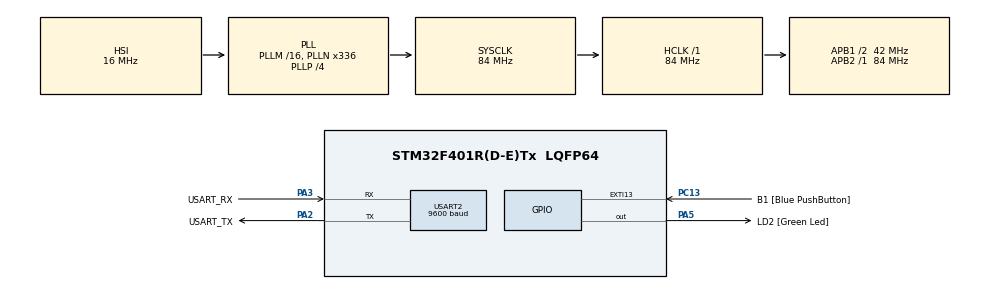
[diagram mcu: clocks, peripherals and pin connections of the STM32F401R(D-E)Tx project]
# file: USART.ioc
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Mcu.Family=STM32F4
Mcu.Name=STM32F401R(D-E)Tx
Mcu.Package=LQFP64
NVIC.PriorityGroup=NVIC_PRIORITYGROUP_0
NVIC.USART2_IRQn=true\:0\:0\:false\:false\:true\:true
PA13.GPIO_Label=TMS
PA13.Signal=SYS_JTMS-SWDIO
PA14.GPIO_Label=TCK
PA14.Signal=SYS_JTCK-SWCLK
PA2.GPIO_Label=USART_TX
PA2.GPIO_Mode=GPIO_MODE_AF_PP
PA2.GPIO_PuPd=GPIO_NOPULL
PA2.GPIO_Speed=GPIO_SPEED_FREQ_LOW
PA2.Mode=Asynchronous
PA2.Signal=USART2_TX
PA3.GPIO_Label=USART_RX
PA3.GPIO_Mode=GPIO_MODE_AF_PP
PA3.GPIO_PuPd=GPIO_NOPULL
PA3.GPIO_Speed=GPIO_SPEED_FREQ_LOW
PA3.Mode=Asynchronous
PA3.Signal=USART2_RX
PA5.GPIO_Label=LD2 [Green Led]
PA5.GPIO_Mode=GPIO_MODE_OUTPUT_PP
PA5.GPIO_PuPd=GPIO_NOPULL
PA5.GPIO_Speed=GPIO_SPEED_FREQ_LOW
PA5.Signal=GPIO_Output
PB3.GPIO_Label=SWO
PB3.Signal=SYS_JTDO-SWO
PC13-ANTI_TAMP.GPIO_Label=B1 [Blue PushButton]
PC13-ANTI_TAMP.GPIO_ModeDefaultEXTI=GPIO_MODE_IT_FALLING
PC13-ANTI_TAMP.GPIO_PuPd=GPIO_NOPULL
PC13-ANTI_TAMP.Signal=GPXTI13
PC14-OSC32_IN.Signal=RCC_OSC32_IN
PC15-OSC32_OUT.Signal=RCC_OSC32_OUT
PH0\ -\ OSC_IN.Signal=RCC_OSC_IN
PH1\ -\ OSC_OUT.Signal=RCC_OSC_OUT
ProjectManager.HeapSize=0x200
ProjectManager.StackSize=0x400
ProjectManager.TargetToolchain=SW4STM32
RCC.AHBFreq_Value=84000000
RCC.APB1CLKDivider=RCC_HCLK_DIV2
RCC.APB1Freq_Value=42000000
RCC.APB1TimFreq_Value=84000000
RCC.APB2Freq_Value=84000000
RCC.APB2TimFreq_Value=84000000
RCC.CortexFreq_Value=84000000
RCC.HCLKFreq_Value=84000000
RCC.HSE_VALUE=8000000
RCC.HSI_VALUE=16000000
RCC.LSE_VALUE=32768
RCC.PLLN=336
RCC.PLLP=RCC_PLLP_DIV4
RCC.PLLQ=7
RCC.SYSCLKFreq_VALUE=84000000
RCC.SYSCLKSource=RCC_SYSCLKSOURCE_PLLCLK
RCC.VCOOutputFreq_Value=336000000
USART2.BaudRate=9600
USART2.VirtualMode=VM_ASYNC
board=NUCLEO-F401RE

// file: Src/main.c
/**
  ******************************************************************************
  * File Name          : main.c
  * Description        : Main program body
  ******************************************************************************
  ** This notice applies to any and all portions of this file
  * that are not between comment pairs USER CODE BEGIN and
  * USER CODE END. Other portions of this file, whether
  * inserted by the user or by software development tools
  * are owned by their respective copyright owners.
  *
  * COPYRIGHT(c) 2018 STMicroelectronics
  *
  * Redistribution and use in source and binary forms, with or without modification,
  * are permitted provided that the following conditions are met:
  *   1. Redistributions of source code must retain the above copyright notice,
  *      this list of conditions and the following disclaimer.
  *   2. Redistributions in binary form must reproduce the above copyright notice,
  *      this list of conditions and the following disclaimer in the documentation
  *      and/or other materials provided with the distribution.
  *   3. Neither the name of STMicroelectronics nor the names of its contributors
  *      may be used to endorse or promote products derived from this software
  *      without specific prior written permission.
  *
  * THIS SOFTWARE IS PROVIDED BY THE COPYRIGHT HOLDERS AND CONTRIBUTORS "AS IS"
  * AND ANY EXPRESS OR IMPLIED WARRANTIES, INCLUDING, BUT NOT LIMITED TO, THE
  * IMPLIED WARRANTIES OF MERCHANTABILITY AND FITNESS FOR A PARTICULAR PURPOSE ARE
  * DISCLAIMED. IN NO EVENT SHALL THE COPYRIGHT HOLDER OR CONTRIBUTORS BE LIABLE
  * FOR ANY DIRECT, INDIRECT, INCIDENTAL, SPECIAL, EXEMPLARY, OR CONSEQUENTIAL
  * DAMAGES (INCLUDING, BUT NOT LIMITED TO, PROCUREMENT OF SUBSTITUTE GOODS OR
  * SERVICES; LOSS OF USE, DATA, OR PROFITS; OR BUSINESS INTERRUPTION) HOWEVER
  * CAUSED AND ON ANY THEORY OF LIABILITY, WHETHER IN CONTRACT, STRICT LIABILITY,
  * OR TORT (INCLUDING NEGLIGENCE OR OTHERWISE) ARISING IN ANY WAY OUT OF THE USE
  * OF THIS SOFTWARE, EVEN IF ADVISED OF THE POSSIBILITY OF SUCH DAMAGE.
  *
  ******************************************************************************
  */

#include "main.h"
#include "stm32f4xx_hal.h"

UART_HandleTypeDef huart2;

/* USER CODE BEGIN PV */
/* Private variables ---------------------------------------------------------*/

uint8_t komunikat[23];
int buf_end = 0;          //indeks konca zapisu
int buf_start = 0;     // indeks poczatku zapisu
uint8_t buf_size = 255;
uint8_t buf_rx[255];      // bufor kolowy
uint8_t Received;     //zmienna przechowujaca dane odebrane z usarta
uint8_t flaga = 0;   //flaga
uint8_t przerwanie = 0;  // flaga informujaca o uruchomieniu przerwania usarta
uint8_t i = 0, k = 11;
uint8_t data[255];     //buf_rxlica przechowujaca wiadomosc ktora zostanie nadana.
uint16_t size = 0;    //Rozmiar wysylanej wiadomosci
int zapalona, zgaszona, miganie;
uint8_t info = 0;

/* USER CODE END PV */

void SystemClock_Config(void);
static void MX_GPIO_Init(void);
static void MX_USART2_UART_Init(void);

/* USER CODE BEGIN PFP */
/* Private function prototypes -----------------------------------------------*/
void HAL_UART_RxCpltCallback(UART_HandleTypeDef *huart) {
	if(huart->Instance == USART2) {
		przerwanie = 1;
	}
}
void sprawdz() {
	if (Received == (uint8_t) 13) { // jesli zostal wcisniety enter to znaczy ze cala komenda jest wprowadzona
		reset(data, 255);
		if (porownaj(buf_rx,  "LED[ON];", 7)) {
			size = sprintf(data, " -> LED[ON]\n\r");
			HAL_GPIO_WritePin(GPIOA, GPIO_PIN_5, GPIO_PIN_SET);
		}else  if (porownaj(buf_rx, "LED[OFF];",8)) {
			size = sprintf(data, " -> LED[OFF]\n\r");
			HAL_GPIO_WritePin(GPIOA, GPIO_PIN_5, GPIO_PIN_RESET);
		}else if (porownaj(buf_rx, "LED[BLINK,", 9)) {
			i = 10;
			zapalona = odczyt(buf_rx);
			i = k;
			zgaszona = odczyt(buf_rx);
			i = k;
			miganie = odczyt1(buf_rx);

			int temp = buf_start + k;
			if (temp >= buf_size)
				temp = temp - buf_size;

			if (buf_rx[temp] != (uint8_t) ';') {
				size = sprintf(data, " blad: komenda nie rozpoznana\n\r");
			} else {
				size = sprintf(data, " -> Miganie\n\r");
				for (int i = 0; i < (uint16_t) miganie; i++) {
					HAL_GPIO_WritePin(GPIOA, GPIO_PIN_5, GPIO_PIN_RESET);
					HAL_Delay((uint16_t) zgaszona);
					HAL_GPIO_WritePin(GPIOA, GPIO_PIN_5, GPIO_PIN_SET);
					HAL_Delay((uint16_t) zapalona);
				}
				HAL_GPIO_WritePin(GPIOA, GPIO_PIN_5, GPIO_PIN_RESET);
				info = 0;
			}
		}
		else {
			size = sprintf(data, " blad: komenda nie rozpoznana\n\r");
		}
		HAL_UART_Transmit_IT(&huart2, data, size);// Rozpoczecie nadawania danych z wykorzystaniem przerwan
		buf_start = buf_end; //aktualiacja indeksu od ktorego zacznie sie nowy komunikat
	} else { // jesli enter nie jest wcisniety, nalezy kontynuowac odbieranie kolejnych znakow komendy i zapisywac je do bufora

		buf_rx[buf_end] = Received;   //dodawanie znaku komunikatu do bufora
		size = sprintf(data, &buf_rx[buf_end]);
		HAL_UART_Transmit_IT(&huart2, data, 1); // wysylanie komunikatu na ekran
		buf_end++;     // inkrementacja indeksu konca komunikatu w buforze
		if (buf_end == buf_size)
			buf_end = 0;   // kiedy bufor zostanie zapelniony indeks sie zeruje
	}
}

int porownaj(char *tekst1, char *tekst2, int dl) {
	int pom = buf_start;
	for (int i = 0; i < dl; i++) {
		if (tekst1[pom] != tekst2[i]) {
			return 0;
		}
		pom++;
		if (pom == buf_size) {
			pom = 0;
		}
	}
	return 1;
}

void reset(char *tekst, int dl) {
	for (int i = 0; i < dl; i++)
		tekst[i] = '\0';
}

int8_t potega(int8_t j){
	int8_t wynik=1;
	for (int i=0; i<j; i++){
		wynik=wynik*10;
	}
	return wynik;
}
int odczyt(char *buf_rx) {
	int buf_znak = buf_start + i;
	int temp1 = i + buf_start;
	if (buf_znak >= buf_size)
		buf_znak = buf_znak - buf_size;
	int8_t j = 0;
	int pomoc = 0;
	while (buf_rx[buf_znak] != (uint8_t) ',') {
		j++;
		i++;
		buf_znak++;
		if (buf_znak >= buf_size)
			buf_znak = 0;
	}
	k = i + 1;
	i = i - j;
	j = j - j;
	buf_znak = temp1;
	if (buf_znak >= buf_size)
		buf_znak = buf_znak - buf_size;

	while (j >= 0 && buf_rx[buf_znak] != (uint8_t) ',') {
		pomoc = pomoc + (atoi(&buf_rx[buf_znak]) * potega(j));
		j--;
		i++;
		buf_znak++;
		if (buf_znak >= buf_size)
			buf_znak = 0;
	}
	return pomoc;
}

int odczyt1(char *buf_rx) {
	int buf_znak = buf_start + i;
	int temp1 = i + buf_start;
	if (buf_znak >= buf_size)
		buf_znak = buf_znak - buf_size;
	int8_t j = 0;
	int pomoc = 0;
	while (buf_rx[buf_znak] != (uint8_t) ']') {
		j++;
		i++;
		buf_znak++;
		if (buf_znak >= buf_size)
			buf_znak = 0;
	}
	k = i + 1;
	i = i - j;
	j = j - j;
	buf_znak = temp1;
	if (buf_znak >= buf_size)
		buf_znak = buf_znak - buf_size;

	while (j >= 0 && buf_rx[buf_znak] != (uint8_t) ']') {
		pomoc = pomoc + (atoi(&buf_rx[buf_znak]) *potega(j));
		j--;
		i++;
		buf_znak++;
		if (buf_znak >= buf_size)
			buf_znak = 0;
	}
	return pomoc;
}
/* USER CODE END PFP */

int main(void)
{

  /* MCU Configuration----------------------------------------------------------*/

  /* Reset of all peripherals, Initializes the Flash interface and the Systick. */
  HAL_Init();

  /* Configure the system clock */
  SystemClock_Config();

  /* Initialize all configured peripherals */
  MX_GPIO_Init();
  MX_USART2_UART_Init();

  /* Infinite loop */
  while (1)
  {

  /* USER CODE BEGIN 3 */
		if (flaga == 0) {
			uint16_t witaj = sprintf(komunikat, "Hello, I am STM32 !!!\n\r");
			HAL_UART_Transmit_IT(&huart2, komunikat, witaj); // Rozpoczecie nadawania danych z wykorzystaniem przerwan
			flaga = 1;
		}
		if (przerwanie == 1) {
			size = 0;
			sprawdz();
			przerwanie = 0;
		}
		HAL_UART_Receive_IT(&huart2, &Received, 1);

  }
  /* USER CODE END 3 */

}

/** System Clock Configuration
*/
void SystemClock_Config(void)
{

  RCC_OscInitTypeDef RCC_OscInitStruct;
  RCC_ClkInitTypeDef RCC_ClkInitStruct;

    /**Configure the main internal regulator output voltage
    */
  __HAL_RCC_PWR_CLK_ENABLE();

  __HAL_PWR_VOLTAGESCALING_CONFIG(PWR_REGULATOR_VOLTAGE_SCALE2);

    /**Initializes the CPU, AHB and APB busses clocks
    */
  RCC_OscInitStruct.OscillatorType = RCC_OSCILLATORTYPE_HSI;
  RCC_OscInitStruct.HSIState = RCC_HSI_ON;
  RCC_OscInitStruct.HSICalibrationValue = 16;
  RCC_OscInitStruct.PLL.PLLState = RCC_PLL_ON;
  RCC_OscInitStruct.PLL.PLLSource = RCC_PLLSOURCE_HSI;
  RCC_OscInitStruct.PLL.PLLM = 16;
  RCC_OscInitStruct.PLL.PLLN = 336;
  RCC_OscInitStruct.PLL.PLLP = RCC_PLLP_DIV4;
  RCC_OscInitStruct.PLL.PLLQ = 7;
  if (HAL_RCC_OscConfig(&RCC_OscInitStruct) != HAL_OK)
  {
    _Error_Handler(__FILE__, __LINE__);
  }

    /**Initializes the CPU, AHB and APB busses clocks
    */
  RCC_ClkInitStruct.ClockType = RCC_CLOCKTYPE_HCLK|RCC_CLOCKTYPE_SYSCLK
                              |RCC_CLOCKTYPE_PCLK1|RCC_CLOCKTYPE_PCLK2;
  RCC_ClkInitStruct.SYSCLKSource = RCC_SYSCLKSOURCE_PLLCLK;
  RCC_ClkInitStruct.AHBCLKDivider = RCC_SYSCLK_DIV1;
  RCC_ClkInitStruct.APB1CLKDivider = RCC_HCLK_DIV2;
  RCC_ClkInitStruct.APB2CLKDivider = RCC_HCLK_DIV1;

  if (HAL_RCC_ClockConfig(&RCC_ClkInitStruct, FLASH_LATENCY_2) != HAL_OK)
  {
    _Error_Handler(__FILE__, __LINE__);
  }

    /**Configure the Systick interrupt time
    */
  HAL_SYSTICK_Config(HAL_RCC_GetHCLKFreq()/1000);

    /**Configure the Systick
    */
  HAL_SYSTICK_CLKSourceConfig(SYSTICK_CLKSOURCE_HCLK);

  /* SysTick_IRQn interrupt configuration */
  HAL_NVIC_SetPriority(SysTick_IRQn, 0, 0);
}

/* USART2 init function */
static void MX_USART2_UART_Init(void)
{

  huart2.Instance = USART2;
  huart2.Init.BaudRate = 9600;
  huart2.Init.WordLength = UART_WORDLENGTH_8B;
  huart2.Init.StopBits = UART_STOPBITS_1;
  huart2.Init.Parity = UART_PARITY_NONE;
  huart2.Init.Mode = UART_MODE_TX_RX;
  huart2.Init.HwFlowCtl = UART_HWCONTROL_NONE;
  huart2.Init.OverSampling = UART_OVERSAMPLING_16;
  if (HAL_UART_Init(&huart2) != HAL_OK)
  {
    _Error_Handler(__FILE__, __LINE__);
  }

}

/** Configure pins as
        * Analog
        * Input
        * Output
        * EVENT_OUT
        * EXTI
*/
static void MX_GPIO_Init(void)
{

  GPIO_InitTypeDef GPIO_InitStruct;

  /* GPIO Ports Clock Enable */
  __HAL_RCC_GPIOC_CLK_ENABLE();
  __HAL_RCC_GPIOH_CLK_ENABLE();
  __HAL_RCC_GPIOA_CLK_ENABLE();
  __HAL_RCC_GPIOB_CLK_ENABLE();

  /*Configure GPIO pin Output Level */
  HAL_GPIO_WritePin(LD2_GPIO_Port, LD2_Pin, GPIO_PIN_RESET);

  /*Configure GPIO pin : B1_Pin */
  GPIO_InitStruct.Pin = B1_Pin;
  GPIO_InitStruct.Mode = GPIO_MODE_IT_FALLING;
  GPIO_InitStruct.Pull = GPIO_NOPULL;
  HAL_GPIO_Init(B1_GPIO_Port, &GPIO_InitStruct);

  /*Configure GPIO pin : LD2_Pin */
  GPIO_InitStruct.Pin = LD2_Pin;
  GPIO_InitStruct.Mode = GPIO_MODE_OUTPUT_PP;
  GPIO_InitStruct.Pull = GPIO_NOPULL;
  GPIO_InitStruct.Speed = GPIO_SPEED_FREQ_LOW;
  HAL_GPIO_Init(LD2_GPIO_Port, &GPIO_InitStruct);

}

void _Error_Handler(char * file, int line)
{
  while(1)
  {
  }
}

/************************ (C) COPYRIGHT STMicroelectronics *****END OF FILE****/
